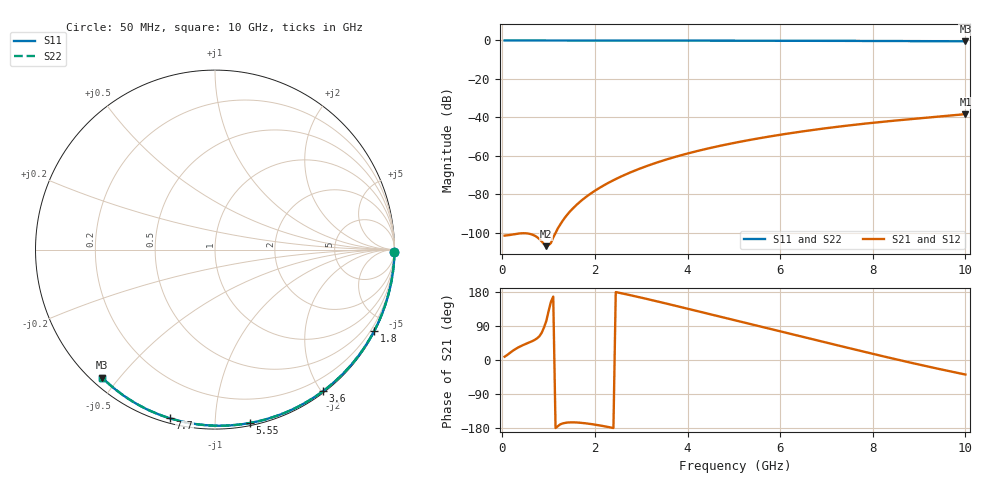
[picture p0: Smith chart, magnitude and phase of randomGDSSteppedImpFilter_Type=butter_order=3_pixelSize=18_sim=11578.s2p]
! freq	dB(S11)	phase(S11)	dB(S12)	phase(S12)
!  dB(S21)	phase(S21)	dB(S22)	phase(S22)
!S-par simulation data
#  GHz  S  DB  R 50
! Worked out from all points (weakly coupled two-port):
!   200 points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, 50 MHz to 10 GHz, reference 50 ohm
!   highest |S21| = -38.35 dB at 10 GHz (marker M1); lowest = -107.1 dB at 950 MHz (marker M2)
!   lowest |S11| = -0.4 dB at 10 GHz (marker M3), VSWR 39.54, Z = 1.52 - j22.6 ohm
!   |S11| at or under -10 dB: nowhere
!   |S22| runs from -0.4 to 0.0 dB; largest |S21 - S12| = 0
!   S11 on the Smith chart (normalised r, x): 50 MHz: open; 1.8 GHz: 0.04, -4.18; 3.6 GHz: 0.02, -2.02; 5.55 GHz: 0.02, -1.22; 7.7 GHz: 0.02, -0.77; 10 GHz: 0.03, -0.45
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0.05  -0.00 -0.8  -101.57 8.7  -101.57 8.7  -0.00 -0.8
0.5  -0.01 -7.6  -100.35 42.1  -100.35 42.1  -0.01 -7.6
0.95  -0.02 -14.3  -107.07 102.8  -107.07 102.8  -0.02 -14.3
1.75  -0.03 -26.2  -82.52 -166.4  -82.52 -166.4  -0.03 -26.2
1.8  -0.03 -26.9  -81.58 -167.1  -81.58 -167.1  -0.03 -26.9
1.9  -0.04 -28.4  -79.83 -168.7  -79.83 -168.7  -0.04 -28.4
2.05  -0.04 -30.6  -77.45 -171.6  -77.45 -171.6  -0.04 -30.6
2.25  -0.04 -33.5  -74.63 -175.9  -74.63 -175.9  -0.04 -33.5
2.65  -0.05 -39.3  -69.88 174.1  -69.88 174.1  -0.05 -39.3
3  -0.06 -44.3  -66.43 164.6  -66.43 164.6  -0.06 -44.3
3.4  -0.07 -49.9  -63.05 153.1  -63.05 153.1  -0.07 -49.9
3.6  -0.07 -52.7  -61.55 147.3  -61.55 147.3  -0.07 -52.7
3.9  -0.08 -56.8  -59.48 138.4  -59.48 138.4  -0.08 -56.8
4.3  -0.09 -62.2  -57.02 126.4  -57.02 126.4  -0.09 -62.2
5.05  -0.11 -72.2  -53.11 104.0  -53.11 104.0  -0.11 -72.2
5.55  -0.13 -78.7  -50.89 89.1  -50.89 89.1  -0.13 -78.7
6.1  -0.15 -85.6  -48.71 72.7  -48.71 72.7  -0.15 -85.6
6.7  -0.18 -93.0  -46.60 54.8  -46.60 54.8  -0.18 -93.0
7.7  -0.24 -105.0  -43.63 25.1  -43.63 25.1  -0.24 -105.0
8.35  -0.29 -112.6  -42.01 6.1  -42.01 6.1  -0.29 -112.6
9.15  -0.36 -121.8  -40.23 -16.2  -40.23 -16.2  -0.36 -121.8
10  -0.44 -131.4  -38.35 -38.3  -38.35 -38.3  -0.44 -131.4
